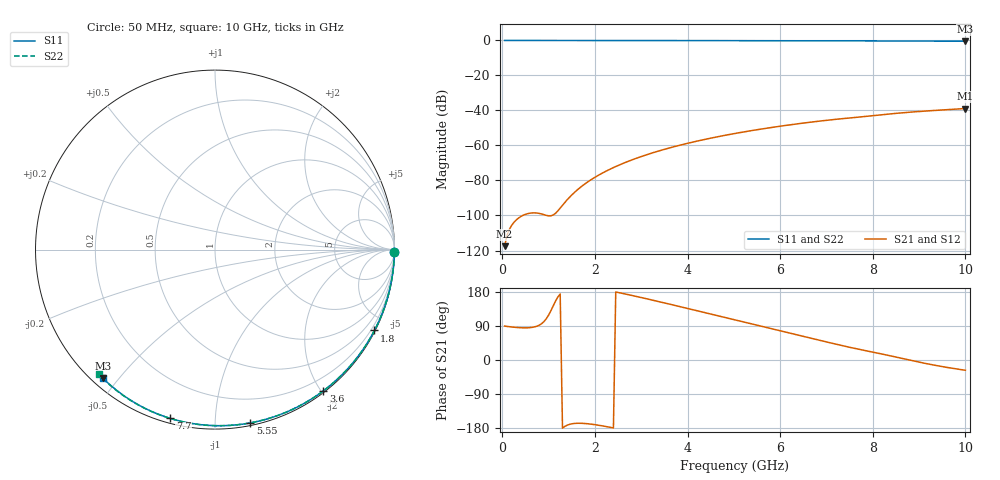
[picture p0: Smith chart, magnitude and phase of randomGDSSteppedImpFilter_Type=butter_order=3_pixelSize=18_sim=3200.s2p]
! freq	dB(S11)	phase(S11)	dB(S12)	phase(S12)
!  dB(S21)	phase(S21)	dB(S22)	phase(S22)
!S-par simulation data
#  GHz  S  DB  R 50
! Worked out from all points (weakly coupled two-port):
!   200 points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, 50 MHz to 10 GHz, reference 50 ohm
!   highest |S21| = -38.89 dB at 10 GHz (marker M1); lowest = -117.5 dB at 50 MHz (marker M2)
!   lowest |S11| = -0.4 dB at 10 GHz (marker M3), VSWR 38.93, Z = 1.55 - j22.7 ohm
!   |S11| at or under -10 dB: nowhere
!   |S22| runs from -0.4 to 0.0 dB; largest |S21 - S12| = 0
!   S11 on the Smith chart (normalised r, x): 50 MHz: open; 1.8 GHz: 0.04, -4.18; 3.6 GHz: 0.02, -2.02; 5.55 GHz: 0.02, -1.22; 7.7 GHz: 0.02, -0.77; 10 GHz: 0.03, -0.45
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0.05  -0.00 -0.8  -117.53 89.5  -117.53 89.5  -0.00 -0.8
0.5  -0.01 -7.6  -99.34 84.8  -99.34 84.8  -0.01 -7.6
0.9  -0.02 -13.6  -99.54 101.4  -99.54 101.4  -0.02 -13.6
1.75  -0.03 -26.2  -82.60 -167.3  -82.60 -167.3  -0.03 -26.3
1.8  -0.03 -26.9  -81.63 -167.7  -81.63 -167.7  -0.03 -27.1
1.9  -0.04 -28.3  -79.84 -169.0  -79.84 -169.0  -0.04 -28.5
2.05  -0.04 -30.5  -77.40 -171.5  -77.40 -171.5  -0.04 -30.7
2.25  -0.04 -33.4  -74.54 -175.8  -74.54 -175.8  -0.04 -33.7
2.45  -0.05 -36.3  -72.02 179.5  -72.02 179.5  -0.05 -36.6
2.65  -0.05 -39.2  -69.77 174.3  -69.77 174.3  -0.05 -39.5
3  -0.06 -44.2  -66.33 164.8  -66.33 164.8  -0.06 -44.5
3.4  -0.07 -49.8  -62.97 153.5  -62.97 153.5  -0.07 -50.1
3.6  -0.07 -52.6  -61.47 147.7  -61.47 147.7  -0.07 -52.9
4.25  -0.09 -61.5  -57.24 128.7  -57.24 128.7  -0.09 -61.9
5.05  -0.11 -72.1  -53.02 105.1  -53.02 105.1  -0.11 -72.6
5.55  -0.13 -78.5  -50.79 90.3  -50.79 90.3  -0.13 -79.1
6.1  -0.15 -85.5  -48.62 74.1  -48.62 74.1  -0.15 -86.1
6.7  -0.18 -92.9  -46.55 56.4  -46.55 56.4  -0.18 -93.6
7.7  -0.24 -104.9  -43.78 28.3  -43.78 28.3  -0.24 -105.7
8.35  -0.29 -112.5  -42.04 11.7  -42.04 11.7  -0.29 -113.4
9.2  -0.36 -122.2  -40.22 -10.6  -40.22 -10.6  -0.36 -123.4
10  -0.45 -131.2  -38.89 -27.0  -38.89 -27.0  -0.45 -132.9
